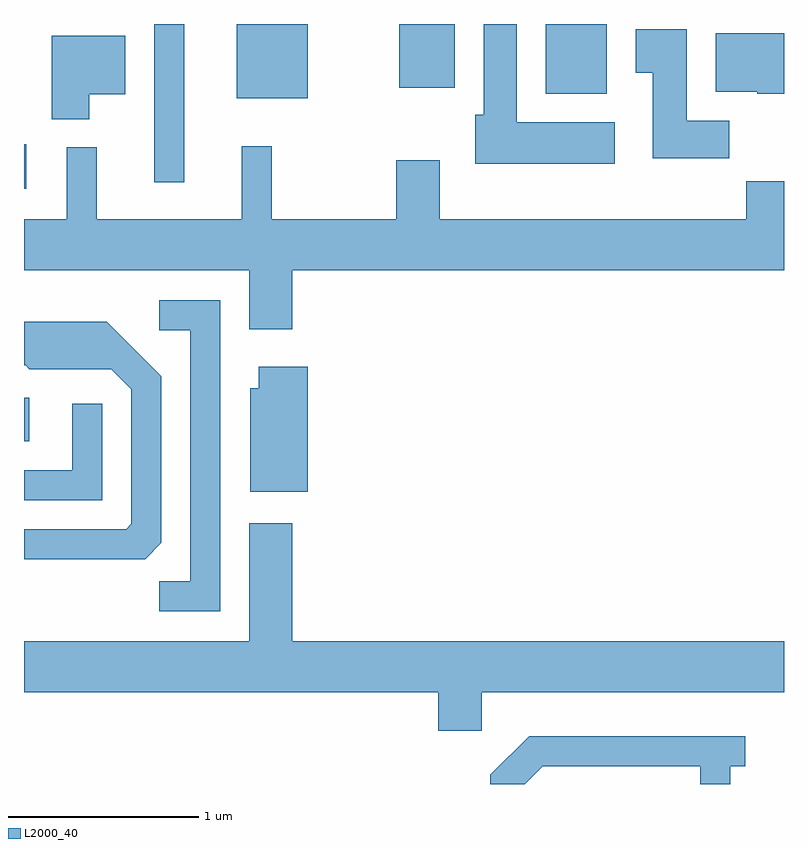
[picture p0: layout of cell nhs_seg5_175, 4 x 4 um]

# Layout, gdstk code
import gdstk
lib = gdstk.Library(unit=1e-6, precision=1e-09)
def R(c, l, rs):  # rectangles x0, y0, x1, y1
    for r in rs: c.add(gdstk.rectangle(r[:2], r[2:], *l))
def P(c, l, *ps):  # polygons
    for p in ps: c.add(gdstk.Polygon(p, *l))
L2000_40 = (2000, 40)

nhs_seg5_175 = lib.new_cell('nhs_seg5_175')
R(nhs_seg5_175, L2000_40, [(189.611,1475.876,189.639,1476.104), (189.611,1477.206,189.624,1477.439), (190.296,1477.238,190.454,1478.072), (190.731,1477.681,191.104,1478.072), (192.356,1477.706,192.679,1478.072), (191.586,1477.736,191.879,1478.072)])
P(nhs_seg5_175, L2000_40, [(192.719,1477.554),(192.204,1477.554),(192.204,1478.072),(192.031,1478.072),(192.031,1477.594),(191.986,1477.594),(191.986,1477.336),(192.719,1477.336)],
  [(193.324,1477.564),(193.099,1477.564),(193.099,1478.044),(192.831,1478.044),(192.831,1477.816),(192.921,1477.816),(192.921,1477.366),(193.324,1477.366)],
  [(193.611,1478.024),(193.251,1478.024),(193.251,1477.716),(193.47,1477.716),(193.47,1477.706),(193.611,1477.706)],
  [(189.954,1477.701),(190.144,1477.701),(190.144,1478.009),(189.756,1478.009),(189.756,1477.571),(189.954,1477.571)],
  [(191.024,1476.776),(193.611,1476.776),(193.611,1477.244),(193.411,1477.244),(193.411,1477.044),(191.799,1477.044),(191.799,1477.354),(191.571,1477.354),(191.571,1477.044),(190.914,1477.044),(190.914,1477.428),(190.756,1477.428),(190.756,1477.044),(189.994,1477.044),(189.994,1477.423),(189.836,1477.423),(189.836,1477.044),(189.611,1477.044),(189.611,1476.776),(190.796,1476.776),(190.796,1476.466),(191.024,1476.466)],
  [(190.644,1476.619),(190.323,1476.619),(190.323,1476.461),(190.486,1476.461),(190.486,1475.139),(190.323,1475.139),(190.323,1474.981),(190.644,1474.981)],
  [(190.334,1475.342),(190.334,1476.217),(190.047,1476.504),(189.611,1476.504),(189.611,1476.276),(189.619,1476.276),(189.639,1476.256),(190.069,1476.256),(190.176,1476.149),(190.176,1475.442),(190.149,1475.414),(189.611,1475.414),(189.611,1475.256),(190.249,1475.256)],
  [(191.104,1476.269),(190.846,1476.269),(190.846,1476.154),(190.801,1476.154),(190.801,1475.611),(191.104,1475.611)],
  [(190.024,1476.073),(189.866,1476.073),(189.866,1475.724),(189.611,1475.724),(189.611,1475.566),(190.024,1475.566)],
  [(192.019,1474.556),(193.611,1474.556),(193.611,1474.824),(191.024,1474.824),(191.024,1475.444),(190.796,1475.444),(190.796,1474.824),(189.611,1474.824),(189.611,1474.556),(191.791,1474.556),(191.791,1474.351),(192.019,1474.351)],
  [(192.342,1474.166),(193.171,1474.166),(193.171,1474.072),(193.329,1474.072),(193.329,1474.166),(193.408,1474.166),(193.408,1474.324),(192.269,1474.324),(192.066,1474.122),(192.066,1474.072),(192.247,1474.072)])

lib.write_gds('nhs_seg5_175.gds')
